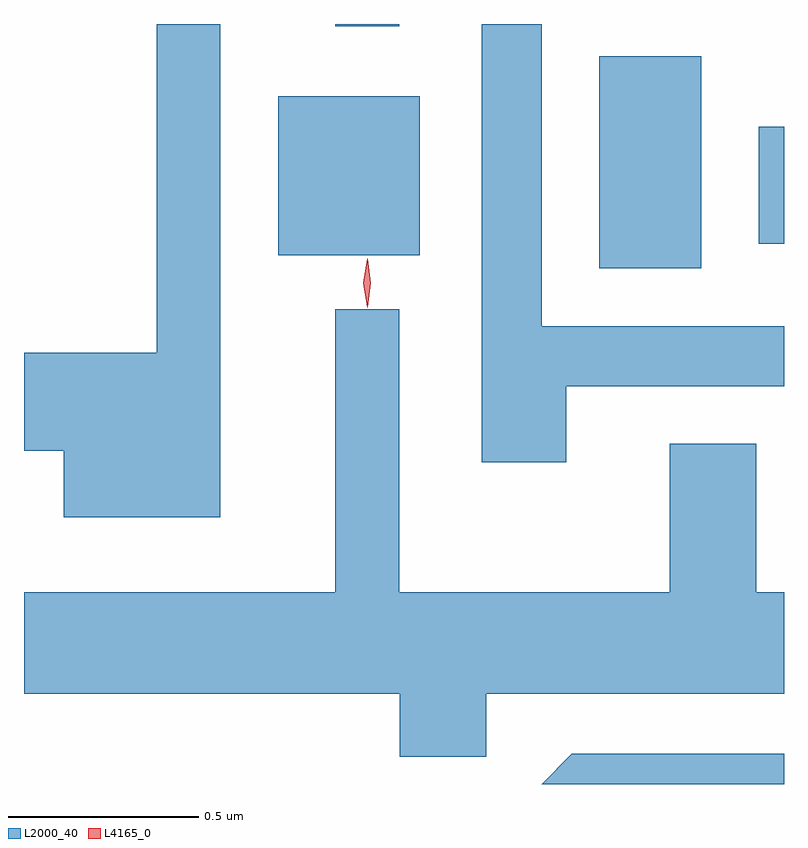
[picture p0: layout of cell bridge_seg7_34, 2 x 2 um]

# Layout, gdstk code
import gdstk
lib = gdstk.Library(unit=1e-6, precision=1e-09)
def R(c, l, rs):  # rectangles x0, y0, x1, y1
    for r in rs: c.add(gdstk.rectangle(r[:2], r[2:], *l))
def P(c, l, *ps):  # polygons
    for p in ps: c.add(gdstk.Polygon(p, *l))
L2000_40 = (2000, 40)
L4165_0 = (4165, 0)

bridge_seg7_34 = lib.new_cell('bridge_seg7_34')
R(bridge_seg7_34, L2000_40, [(1727.786,1742.076,1728.054,1742.634), (1726.941,1742.111,1727.314,1742.529), (1728.206,1742.141,1728.272,1742.449), (1727.091,1742.713,1727.259,1742.719)])
P(bridge_seg7_34, L2000_40, [(1726.789,1742.719),(1726.621,1742.719),(1726.621,1741.854),(1726.272,1741.854),(1726.272,1741.596),(1726.376,1741.596),(1726.376,1741.421),(1726.789,1741.421)],
  [(1727.699,1741.766),(1728.272,1741.766),(1728.272,1741.924),(1727.634,1741.924),(1727.634,1742.719),(1727.476,1742.719),(1727.476,1741.566),(1727.699,1741.566)],
  [(1727.489,1740.956),(1728.272,1740.956),(1728.272,1741.224),(1728.199,1741.224),(1728.199,1741.614),(1727.971,1741.614),(1727.971,1741.224),(1727.259,1741.224),(1727.259,1741.968),(1727.091,1741.968),(1727.091,1741.224),(1726.272,1741.224),(1726.272,1740.956),(1727.261,1740.956),(1727.261,1740.791),(1727.489,1740.791)],
  [(1728.272,1740.799),(1727.714,1740.799),(1727.634,1740.719),(1728.272,1740.719)])
P(bridge_seg7_34, L4165_0, [(1727.175,1741.973),(1727.175,1741.973),(1727.165,1742.037),(1727.175,1742.101),(1727.175,1742.101),(1727.176,1742.101),(1727.185,1742.037),(1727.176,1741.973)])

lib.write_gds('bridge_seg7_34.gds')
